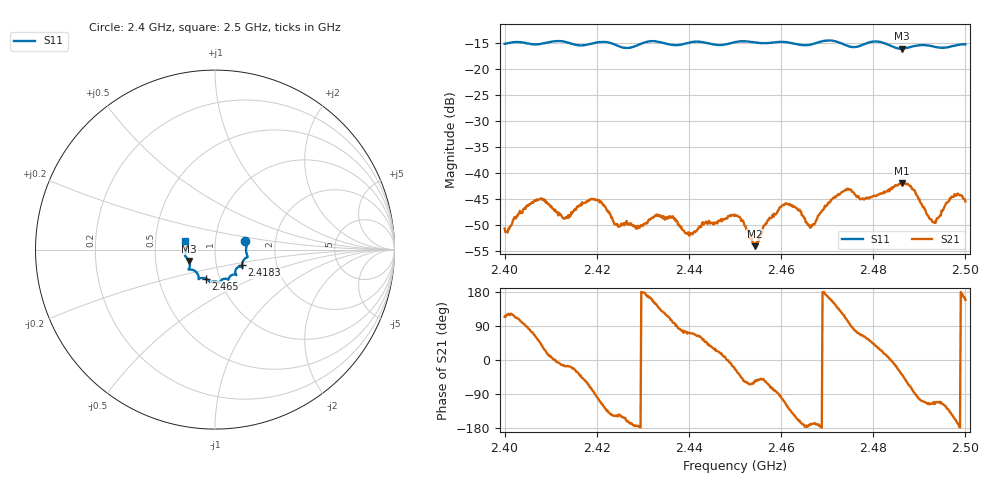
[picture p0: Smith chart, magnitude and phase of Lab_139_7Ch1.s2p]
# Hz S RI R 50
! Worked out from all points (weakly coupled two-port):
!   601 points, 2.4 GHz to 2.5 GHz, reference 50 ohm
!   highest |S21| = -41.96 dB at 2.4862 GHz (marker M1); lowest = -54.1 dB at 2.4543 GHz (marker M2)
!   lowest |S11| = -16.1 dB at 2.4862 GHz (marker M3), VSWR 1.37, Z = 37.2 - j4.82 ohm
!   |S11| at or under -10 dB: start of sweep to end of sweep
!   S12 and S22 are empty: the file has one direction only
!   S11 on the Smith chart (normalised r, x): 2.4 GHz: 1.40, +0.13; 2.4183 GHz: 1.33, -0.24; 2.465 GHz: 0.86, -0.29; 2.5 GHz: 0.71, +0.07
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2.4e9  0.1688 0.0468  -0.00119 0.00265  0 0  0 0
2.4075e9  0.1735 -0.0097  0.00365 0.00418  0 0  0 0
2.413167e9  0.1775 -0.0435  0.00348 -0.00103  0 0  0 0
2.416667e9  0.1547 -0.0681  0.00338 -0.00349  0 0  0 0
2.418333e9  0.1502 -0.0869  0.00211 -0.00504  0 0  0 0
2.421e9  0.1527 -0.1  -0.00219 -0.00472  0 0  0 0
2.424667e9  0.1372 -0.0951  -0.00251 -0.00169  0 0  0 0
2.433333e9  0.1176 -0.141  -0.003 0.00253  0 0  0 0
2.440333e9  0.0757 -0.1647  0.000864 0.0025  0 0  0 0
2.45e9  0.0262 -0.18  0.0036 -0.00163  0 0  0 0
2.454333e9  0.0123 -0.1802  0.00106 -0.00166  0 0  0 0
2.460667e9  -0.0283 -0.1806  -0.00164 -0.0046  0 0  0 0
2.465e9  -0.0525 -0.1616  -0.00363 -0.000493  0 0  0 0
2.466667e9  -0.0713 -0.1577  -0.00298 -0.000622  0 0  0 0
2.474e9  -0.0942 -0.1415  -0.00241 0.0064  0 0  0 0
2.477667e9  -0.1293 -0.1119  0.00244 0.00513  0 0  0 0
2.483333e9  -0.1413 -0.0967  0.00687 0.00079  0 0  0 0
2.486167e9  -0.1438 -0.0632  0.00631 -0.00488  0 0  0 0
2.4885e9  -0.1595 -0.043  0.00129 -0.00682  0 0  0 0
2.493e9  -0.164 -0.0202  -0.00134 -0.00306  0 0  0 0
2.497167e9  -0.1638 0.0282  -0.00485 -0.00336  0 0  0 0
2.5e9  -0.1668 0.0466  -0.00493 0.00193  0 0  0 0
